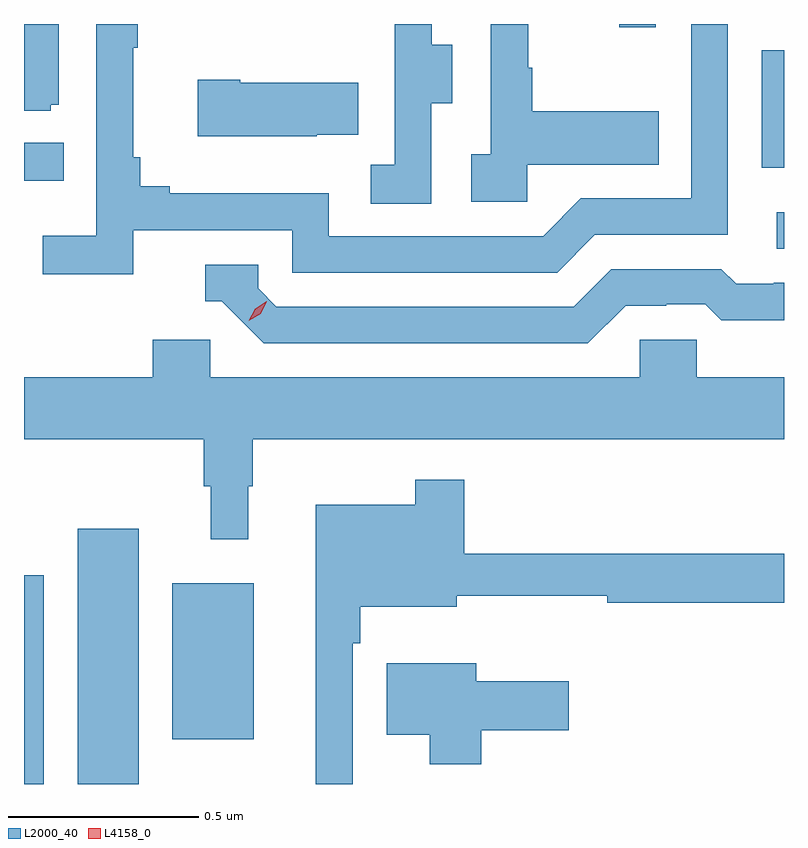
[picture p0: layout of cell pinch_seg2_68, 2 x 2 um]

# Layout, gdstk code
import gdstk
lib = gdstk.Library(unit=1e-6, precision=1e-09)
def R(c, l, rs):  # rectangles x0, y0, x1, y1
    for r in rs: c.add(gdstk.rectangle(r[:2], r[2:], *l))
def P(c, l, *ps):  # polygons
    for p in ps: c.add(gdstk.Polygon(p, *l))
L2000_40 = (2000, 40)
L4158_0 = (4158, 0)

pinch_seg2_68 = lib.new_cell('pinch_seg2_68')
R(pinch_seg2_68, L2000_40, [(1036.982,649.393,1037.034,649.942), (1037.123,649.393,1037.284,650.065), (1037.372,649.511,1037.587,649.921), (1038.963,650.802,1038.982,650.898), (1038.924,651.015,1038.982,651.324), (1038.548,651.384,1038.645,651.393)])
P(pinch_seg2_68, L2000_40, [(1037.27,650.85),(1037.688,650.85),(1037.688,650.739),(1038.385,650.739),(1038.484,650.838),(1038.834,650.838),(1038.834,651.393),(1038.738,651.393),(1038.738,650.934),(1038.447,650.934),(1038.348,650.835),(1037.784,650.835),(1037.784,650.947),(1037.365,650.947),(1037.365,650.966),(1037.288,650.966),(1037.288,651.043),(1037.269,651.043),(1037.269,651.331),(1037.281,651.331),(1037.281,651.393),(1037.172,651.393),(1037.172,650.836),(1037.031,650.836),(1037.031,650.734),(1037.27,650.734)],
  [(1038.054,651.184),(1038.109,651.184),(1038.109,651.339),(1038.055,651.339),(1038.055,651.393),(1037.957,651.393),(1037.957,651.327),(1037.958,651.327),(1037.958,651.023),(1037.895,651.023),(1037.895,650.92),(1038.054,650.92)],
  [(1037.052,651.18),(1037.074,651.18),(1037.074,651.393),(1036.982,651.393),(1036.982,651.165),(1037.052,651.165)],
  [(1038.306,651.023),(1038.653,651.023),(1038.653,651.163),(1038.319,651.163),(1038.319,651.278),(1038.309,651.278),(1038.309,651.393),(1038.21,651.393),(1038.21,651.05),(1038.159,651.05),(1038.159,650.925),(1038.306,650.925)],
  [(1037.753,651.101),(1037.861,651.101),(1037.861,651.238),(1037.551,651.238),(1037.551,651.246),(1037.439,651.246),(1037.439,651.098),(1037.753,651.098)],
  [(1036.983,650.981),(1037.087,650.981),(1037.087,651.08),(1036.982,651.08),(1036.982,650.98)],
  [(1038.565,650.652),(1038.672,650.652),(1038.672,650.655),(1038.775,650.655),(1038.817,650.613),(1038.982,650.613),(1038.982,650.712),(1038.955,650.712),(1038.955,650.709),(1038.856,650.709),(1038.817,650.748),(1038.528,650.748),(1038.429,650.649),(1037.646,650.649),(1037.598,650.697),(1037.598,650.76),(1037.459,650.76),(1037.459,650.664),(1037.502,650.664),(1037.613,650.553),(1038.466,650.553)],
  [(1037.572,650.177),(1037.584,650.177),(1037.584,650.3),(1038.982,650.3),(1038.982,650.464),(1038.753,650.464),(1038.753,650.562),(1038.603,650.562),(1038.603,650.464),(1037.472,650.464),(1037.472,650.562),(1037.321,650.562),(1037.321,650.464),(1036.982,650.464),(1036.982,650.3),(1037.455,650.3),(1037.455,650.177),(1037.474,650.177),(1037.474,650.037),(1037.572,650.037)],
  [(1037.847,649.763),(1037.867,649.763),(1037.867,649.859),(1038.121,649.859),(1038.121,649.888),(1038.517,649.888),(1038.517,649.87),(1038.982,649.87),(1038.982,649.999),(1038.14,649.999),(1038.14,650.194),(1038.012,650.194),(1038.012,650.128),(1037.75,650.128),(1037.75,649.393),(1037.847,649.393)],
  [(1038.185,649.534),(1038.415,649.534),(1038.415,649.663),(1038.172,649.663),(1038.172,649.711),(1037.936,649.711),(1037.936,649.523),(1038.05,649.523),(1038.05,649.445),(1038.185,649.445)])
P(pinch_seg2_68, L4158_0, [(1037.574,650.612),(1037.574,650.612),(1037.59,650.644),(1037.621,650.663),(1037.621,650.663),(1037.621,650.663),(1037.605,650.631),(1037.574,650.612)])

lib.write_gds('pinch_seg2_68.gds')
